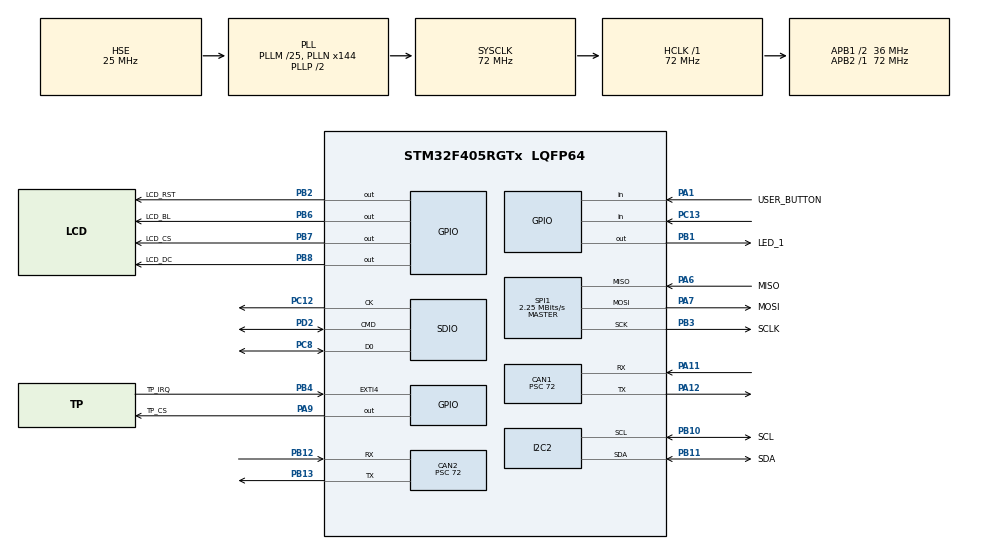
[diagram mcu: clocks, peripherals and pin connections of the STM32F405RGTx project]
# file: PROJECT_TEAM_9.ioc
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ADC1.Channel-0\#ChannelRegularConversion=ADC_CHANNEL_TEMPSENSOR
ADC1.NbrOfConversionFlag=1
ADC1.Rank-0\#ChannelRegularConversion=1
ADC1.SamplingTime-0\#ChannelRegularConversion=ADC_SAMPLETIME_3CYCLES
ADC1.master=1
CAN1.BS1=CAN_BS1_2TQ
CAN1.CalculateBaudRate=125000
CAN1.CalculateTimeBit=8000
CAN1.CalculateTimeQuantum=2000.0
CAN1.Prescaler=72
CAN2.BS1=CAN_BS1_2TQ
CAN2.CalculateBaudRate=125000
CAN2.CalculateTimeBit=8000
CAN2.CalculateTimeQuantum=2000.0
CAN2.Prescaler=72
FATFS.BSP.number=1
FATFS._USE_STRFUNC=1
FATFS0.BSP.STBoard=false
FATFS0.BSP.api=Unknown
FATFS0.BSP.instance=PC13-ANTI_TAMP
FATFS0.BSP.ip=GPIO
FATFS0.BSP.mode=Input
FATFS0.BSP.name=Detect_SDIO
FATFS0.BSP.solution=PC13-ANTI_TAMP
FREERTOS.Tasks01=defaultTask,24,128,StartDefaultTask,Default,NULL,Dynamic,NULL,NULL;canCommTask,40,128,StartCanCommTask,Default,NULL,Dynamic,NULL,NULL;tempFramTask,24,128,StartTempFramTask,Default,NULL,Dynamic,NULL,NULL;sdCardTask,16,128,StartSDCardTask,Default,NULL,Dynamic,NULL,NULL;ledBlinkTask,8,128,StartLedBlinkTask,Default,NULL,Dynamic,NULL,NULL;touchTask,32,128,StartTouchTask,Default,NULL,Dynamic,NULL,NULL;lcdUpdateTextTa,16,128,StartLcdUpdateTextTask,Default,NULL,Dynamic,NULL,NULL;uiManagerTask,24,128,StartUIManagerTask,Default,NULL,Dynamic,NULL,NULL
FREERTOS.configCHECK_FOR_STACK_OVERFLOW=2
FREERTOS.configTOTAL_HEAP_SIZE=32768
FREERTOS.configUSE_MALLOC_FAILED_HOOK=1
FREERTOS.configUSE_NEWLIB_REENTRANT=1
Mcu.Family=STM32F4
Mcu.Name=STM32F405RGTx
Mcu.Package=LQFP64
NVIC.CAN1_TX_IRQn=true\:5\:0\:false\:false\:true\:true\:true\:true\:true
NVIC.CAN2_RX0_IRQn=true\:5\:0\:false\:false\:true\:true\:true\:true\:true
NVIC.EXTI4_IRQn=true\:5\:0\:false\:false\:true\:true\:true\:true\:true
NVIC.I2C2_EV_IRQn=true\:5\:0\:false\:false\:true\:true\:true\:true\:true
NVIC.PriorityGroup=NVIC_PRIORITYGROUP_4
NVIC.SDIO_IRQn=true\:5\:0\:false\:false\:true\:true\:true\:true\:true
PA1.GPIO_Label=USER_BUTTON
PA1.GPIO_PuPd=GPIO_PULLUP
PA1.Signal=GPIO_Input
PA11.Mode=CAN_Activate
PA11.Signal=CAN1_RX
PA12.Mode=CAN_Activate
PA12.Signal=CAN1_TX
PA13.Mode=Serial_Wire
PA13.Signal=SYS_JTMS-SWDIO
PA14.Mode=Serial_Wire
PA14.Signal=SYS_JTCK-SWCLK
PA6.GPIO_Label=MISO
PA6.Mode=Full_Duplex_Master
PA6.Signal=SPI1_MISO
PA7.GPIO_Label=MOSI
PA7.Mode=Full_Duplex_Master
PA7.Signal=SPI1_MOSI
PA9.GPIO_Label=TP_CS
PA9.Signal=GPIO_Output
PB1.GPIO_Label=LED_1
PB1.Signal=GPIO_Output
PB10.GPIO_Label=SCL
PB10.GPIO_Pu=GPIO_PULLUP
PB10.Mode=I2C
PB10.Signal=I2C2_SCL
PB11.GPIO_Label=SDA
PB11.Mode=I2C
PB11.Signal=I2C2_SDA
PB12.Mode=CAN_Activate
PB12.Signal=CAN2_RX
PB13.Mode=CAN_Activate
PB13.Signal=CAN2_TX
PB2.GPIO_Label=LCD_RST
PB2.Signal=GPIO_Output
PB3.GPIO_Label=SCLK
PB3.Mode=Full_Duplex_Master
PB3.Signal=SPI1_SCK
PB4.GPIO_Label=TP_IRQ
PB4.GPIO_PuPd=GPIO_PULLUP
PB4.Signal=GPXTI4
PB6.GPIO_Label=LCD_BL
PB6.Signal=GPIO_Output
PB7.GPIO_Label=LCD_CS
PB7.Signal=GPIO_Output
PB8.GPIO_Label=LCD_DC
PB8.Signal=GPIO_Output
PC10.Signal=SDIO_D2
PC11.Signal=SDIO_D3
PC12.Mode=SD_1_bit
PC12.Signal=SDIO_CK
PC13-ANTI_TAMP.Signal=GPIO_Input
PC14-OSC32_IN.Mode=LSE-External-Oscillator
PC14-OSC32_IN.Signal=RCC_OSC32_IN
PC15-OSC32_OUT.Mode=LSE-External-Oscillator
PC15-OSC32_OUT.Signal=RCC_OSC32_OUT
PC8.Mode=SD_1_bit
PC8.Signal=SDIO_D0
PC9.Signal=SDIO_D1
PD2.Mode=SD_1_bit
PD2.Signal=SDIO_CMD
PH0-OSC_IN.Mode=HSE-External-Oscillator
PH0-OSC_IN.Signal=RCC_OSC_IN
PH1-OSC_OUT.Mode=HSE-External-Oscillator
PH1-OSC_OUT.Signal=RCC_OSC_OUT
ProjectManager.HeapSize=0x200
ProjectManager.StackSize=0x400
ProjectManager.TargetToolchain=STM32CubeIDE
RCC.48MHZClocksFreq_Value=36000000
RCC.AHBFreq_Value=72000000
RCC.APB1CLKDivider=RCC_HCLK_DIV2
RCC.APB1Freq_Value=36000000
RCC.APB1TimFreq_Value=72000000
RCC.APB2Freq_Value=72000000
RCC.APB2TimFreq_Value=72000000
RCC.CortexFreq_Value=72000000
RCC.HCLKFreq_Value=72000000
RCC.HSE_VALUE=25000000
RCC.HSI_VALUE=16000000
RCC.PLLM=25
RCC.PLLN=144
RCC.PLLSourceVirtual=RCC_PLLSOURCE_HSE
RCC.SYSCLKFreq_VALUE=72000000
RCC.SYSCLKSource=RCC_SYSCLKSOURCE_PLLCLK
RCC.VCOOutputFreq_Value=144000000
SPI1.BaudRatePrescaler=SPI_BAUDRATEPRESCALER_32
SPI1.CalculateBaudRate=2.25 MBits/s
SPI1.Direction=SPI_DIRECTION_2LINES
SPI1.Mode=SPI_MODE_MASTER
SPI1.VirtualType=VM_MASTER
VP_ADC1_TempSens_Input.Mode=IN-TempSens
VP_FATFS_VS_SDIO.Mode=SDIO
VP_FREERTOS_VS_CMSIS_V2.Mode=CMSIS_V2
VP_RTC_VS_RTC_Activate.Mode=RTC_Enabled
VP_RTC_VS_RTC_Calendar.Mode=RTC_Calendar
board=custom

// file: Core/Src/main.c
/* USER CODE BEGIN Header */
/**
 ******************************************************************************
 * @file           : main.c
 * @brief          : Main program body
 ******************************************************************************
 * @attention
 *
 * Copyright (c) 2025 STMicroelectronics.
 * All rights reserved.
 *
 * This software is licensed under terms that can be found in the LICENSE file
 * in the root directory of this software component.
 * If no LICENSE file comes with this software, it is provided AS-IS.
 *
 ******************************************************************************
 */
/* USER CODE END Header */
#include "main.h"
#include "cmsis_os.h"
#include "fatfs.h"

/* USER CODE BEGIN Includes */
#include "manual_lcd.h"
#include "manual_touch.h"
#include <stdio.h>
#include <stdbool.h>
#include <string.h>
#include "stm32f4xx_hal.h"
#include "task2.h"
#include "sd_card_manager.h"
#include "rtc_utils.h"
#include "task.h"
/* USER CODE END Includes */

ADC_HandleTypeDef hadc1;

CAN_HandleTypeDef hcan1;
CAN_HandleTypeDef hcan2;

I2C_HandleTypeDef hi2c2;

RTC_HandleTypeDef hrtc;

SD_HandleTypeDef hsd;

SPI_HandleTypeDef hspi1;

/* Definitions for defaultTask */
osThreadId_t defaultTaskHandle;
const osThreadAttr_t defaultTask_attributes = {
    .name = "defaultTask",
    .stack_size = 128 * 4,
    .priority = (osPriority_t)osPriorityNormal,
};
/* Definitions for canCommTask */
osThreadId_t canCommTaskHandle;
const osThreadAttr_t canCommTask_attributes = {
    .name = "canCommTask",
    .stack_size = 128 * 4,
    .priority = (osPriority_t)osPriorityHigh,
};
/* Definitions for tempFramTask */
osThreadId_t tempFramTaskHandle;
const osThreadAttr_t tempFramTask_attributes = {
    .name = "tempFramTask",
    .stack_size = 128 * 4,
    .priority = (osPriority_t)osPriorityNormal,
};
/* Definitions for sdCardTask */
osThreadId_t sdCardTaskHandle;
const osThreadAttr_t sdCardTask_attributes = {
    .name = "sdCardTask",
    .stack_size = 128 * 4,
    .priority = (osPriority_t)osPriorityBelowNormal,
};
/* Definitions for ledBlinkTask */
osThreadId_t ledBlinkTaskHandle;
const osThreadAttr_t ledBlinkTask_attributes = {
    .name = "ledBlinkTask",
    .stack_size = 128 * 4,
    .priority = (osPriority_t)osPriorityLow,
};

/* Definitions for lcdUpdateTextTa */
osThreadId_t lcdUpdateTextTaHandle;
const osThreadAttr_t lcdUpdateTextTa_attributes = {
    .name = "lcdUpdateTextTa",
    .stack_size = 128 * 4,
    .priority = (osPriority_t)osPriorityBelowNormal,
};
/* Definitions for uiManagerTask */
osThreadId_t uiManagerTaskHandle;
const osThreadAttr_t uiManagerTask_attributes = {
    .name = "uiManagerTask",
    .stack_size = 128 * 4,
    .priority = (osPriority_t)osPriorityNormal,
};
/* Definitions for taskSwitchHandler */
osThreadId_t taskSwitchHandlerHandle;
const osThreadAttr_t taskSwitchHandler_attributes = {
    .name = "taskSwitchHandler",
    .stack_size = 128 * 4,
    .priority = (osPriority_t)osPriorityHigh,
};

/* USER CODE BEGIN PV */
uint8_t read_data[50], byte_read;
SD_HandleTypeDef hsd;
HAL_SD_CardInfoTypeDef SDCardInfo;

CAN_TxHeaderTypeDef TxHeader1;
CAN_RxHeaderTypeDef RxHeader2;

uint8_t TxData1[2];
uint8_t RxData2[2];

uint32_t TxMailbox1;

volatile uint8_t can2_received_temperature;
volatile uint8_t can2_received_group;
volatile uint8_t can2_received_data_flag = 0;
int current_task = -1;
GPIO_PinState current_button_state = GPIO_PIN_RESET;

TaskBox_t task_boxes[4];
TaskBox_t back_button_box;
int num_tasks;
char info_text_buffer[50];

osSemaphoreId_t uiUpdateSemaphore;
osSemaphoreId_t lcdUpdateSemaphore;
osMessageQueueId_t lcdTextQueue;
osMessageQueueId_t taskSwitchQueue;
osMessageQueueId_t uiTaskSwitchQueue;
osMutexId_t lcdMutex;
osMutexId_t lcdTextMutex;

char globalLcdText[50];
volatile uint8_t lcdTextReady = 0;

osThreadId_t currentActiveTask = NULL;

typedef struct
{
  char text[50];
} LcdTextMessage_t;

typedef struct
{
  char oldTaskName[20];
  char newTaskName[20];
  uint16_t oldColor;
  uint16_t newColor;
  int hasOldTask;
} UiTaskSwitchMessage_t;

typedef struct
{
  osThreadId_t taskHandle;
  int taskIndex;
} TaskSwitchMessage_t;

volatile uint8_t is_members_layout = 1;

/* USER CODE END PV */

void SystemClock_Config(void);
static void MX_GPIO_Init(void);
static void MX_SPI1_Init(void);
static void MX_I2C2_Init(void);
static void MX_SDIO_SD_Init(void);
static void MX_ADC1_Init(void);
static void MX_CAN1_Init(void);
static void MX_CAN2_Init(void);
static void MX_RTC_Init(void);
void StartDefaultTask(void *argument);
void StartCanCommTask(void *argument);
void StartTempFramTask(void *argument);
void StartSDCardTask(void *argument);
void StartLedBlinkTask(void *argument);
void StartLcdUpdateTextTask(void *argument);
void StartUIManagerTask(void *argument);
void TaskSwitchHandler(void *argument);

int main(void)
{
  /* USER CODE BEGIN 1 */
  uint16_t start_y_tasks_row1 = INFO_BOX_Y + INFO_BOX_H + INFO_TO_TASK_SPACING;
  uint16_t start_y_tasks_row2 = start_y_tasks_row1 + TASK_BOX_H + SPACING_BETWEEN_BOXES;

  task_boxes[0] = (TaskBox_t){25, 80, 90, 60, "Task 02-1"};
  task_boxes[1] = (TaskBox_t){125, 80, 90, 60, "Task 02-2"};
  task_boxes[2] = (TaskBox_t){25, 150, 90, 60, "Task 02-3"};
  task_boxes[3] = (TaskBox_t){125, 150, 90, 60, "Task 02-4"};

  num_tasks = 4;

  char current_task_text[20];

  back_button_box = (TaskBox_t){
      125,
      230,
      75,
      40,
      "Back"};

  /* USER CODE END 1 */

  /* MCU Configuration--------------------------------------------------------*/

  /* Reset of all peripherals, Initializes the Flash interface and the Systick. */
  HAL_Init();

  /* Configure the system clock */
  SystemClock_Config();

  /* Initialize all configured peripherals */
  MX_GPIO_Init();
  MX_SPI1_Init();
  MX_I2C2_Init();
  MX_SDIO_SD_Init();
  MX_FATFS_Init();
  MX_ADC1_Init();
  MX_CAN1_Init();
  MX_CAN2_Init();
  MX_RTC_Init(); /* USER CODE BEGIN 2 */
  CAN_FilterTypeDef sFilterConfig2;
  sFilterConfig2.FilterBank = 14;
  sFilterConfig2.FilterMode = CAN_FILTERMODE_IDMASK;
  sFilterConfig2.FilterScale = CAN_FILTERSCALE_32BIT;
  sFilterConfig2.FilterIdHigh = 0x0000;
  sFilterConfig2.FilterIdLow = 0x0000;
  sFilterConfig2.FilterMaskIdHigh = 0x0000;
  sFilterConfig2.FilterMaskIdLow = 0x0000;
  sFilterConfig2.FilterFIFOAssignment = CAN_RX_FIFO0;
  sFilterConfig2.FilterActivation = ENABLE;

  if (HAL_CAN_ConfigFilter(&hcan2, &sFilterConfig2) != HAL_OK)
  {
    Error_Handler();
  }

  if (HAL_CAN_Start(&hcan1) != HAL_OK)
  {
    Error_Handler();
  }

  if (HAL_CAN_Start(&hcan2) != HAL_OK)
  {
    Error_Handler();
  }

  if (HAL_CAN_ActivateNotification(&hcan2, CAN_IT_RX_FIFO0_MSG_PENDING) != HAL_OK)
  {
    Error_Handler();
  }

  TxHeader1.StdId = 0x124;
  TxHeader1.ExtId = 0x00;
  TxHeader1.RTR = CAN_RTR_DATA;
  TxHeader1.IDE = CAN_ID_STD;
  TxHeader1.DLC = 2;
  TxHeader1.TransmitGlobalTime = DISABLE;

  // SD_Init();

  My_RTC_InitAndSet(&hrtc);
  Manual_LCD_Init();
  Manual_LCD_DrawMembersLayout();

  // Infinite loop waiting for PA1 button press
  while(1)
  {
    // Check PA1 button state (GPIO_PIN_RESET when pressed)
    if(HAL_GPIO_ReadPin(GPIOA, GPIO_PIN_1) == GPIO_PIN_RESET)
    {

      HAL_Delay(10);
      // Check again to ensure button is really pressed
      if(HAL_GPIO_ReadPin(GPIOA, GPIO_PIN_1) == GPIO_PIN_RESET)
      {
        // Wait until button is released
        while(HAL_GPIO_ReadPin(GPIOA, GPIO_PIN_1) == GPIO_PIN_RESET)
        {
          HAL_Delay(10);
        }

        // Exit the waiting loop
        break;
      }
    }

    // Small delay to prevent CPU from running too fast
    HAL_Delay(10);
  }

  Manual_LCD_DrawLayout();

  Manual_Touch_Init(&hspi1);

  /* USER CODE END 4 */
  /* USER CODE END 2 */

  /* Init scheduler */
  osKernelInitialize();

  /* USER CODE BEGIN RTOS_MUTEX */
  /* add mutexes, ... */
  lcdMutex = osMutexNew(NULL);
  /* USER CODE END RTOS_MUTEX */

  /* USER CODE BEGIN RTOS_SEMAPHORES */
  /* add semaphores, ... */
  uiUpdateSemaphore = osSemaphoreNew(1, 0, NULL);
  lcdUpdateSemaphore = osSemaphoreNew(1, 0, NULL);
  /* USER CODE END RTOS_SEMAPHORES */

  /* USER CODE BEGIN RTOS_TIMERS */
  /* start timers, add new ones, ... */
  /* USER CODE END RTOS_TIMERS */ /* USER CODE BEGIN RTOS_QUEUES */
  lcdTextQueue = osMessageQueueNew(1, sizeof(LcdTextMessage_t), NULL);
  taskSwitchQueue = osMessageQueueNew(1, sizeof(TaskSwitchMessage_t), NULL);
  uiTaskSwitchQueue = osMessageQueueNew(1, sizeof(UiTaskSwitchMessage_t), NULL);
  /* USER CODE END RTOS_QUEUES */

  /* Create the thread(s) */
  /* creation of defaultTask */
  defaultTaskHandle = osThreadNew(StartDefaultTask, NULL, &defaultTask_attributes);

  /* creation of canCommTask */
  canCommTaskHandle = osThreadNew(StartCanCommTask, NULL, &canCommTask_attributes);

  /* creation of tempFramTask */
  tempFramTaskHandle = osThreadNew(StartTempFramTask, NULL, &tempFramTask_attributes);

  /* creation of sdCardTask */
  sdCardTaskHandle = osThreadNew(StartSDCardTask, NULL, &sdCardTask_attributes);
  /* creation of ledBlinkTask */
  ledBlinkTaskHandle = osThreadNew(StartLedBlinkTask, NULL, &ledBlinkTask_attributes);

  /* creation of lcdUpdateTextTa */
  lcdUpdateTextTaHandle = osThreadNew(StartLcdUpdateTextTask, NULL, &lcdUpdateTextTa_attributes);
  /* creation of uiManagerTask */
  uiManagerTaskHandle = osThreadNew(StartUIManagerTask, NULL, &uiManagerTask_attributes);

  /* USER CODE BEGIN RTOS_THREADS */
  /* creation of taskSwitchHandler */ taskSwitchHandlerHandle = osThreadNew(TaskSwitchHandler, NULL, &taskSwitchHandler_attributes);

  osThreadSuspend(ledBlinkTaskHandle);
  osThreadSuspend(canCommTaskHandle);
  osThreadSuspend(tempFramTaskHandle);
  osThreadSuspend(sdCardTaskHandle);
  osThreadSuspend(defaultTaskHandle);
  /* USER CODE END RTOS_THREADS */

  /* Start scheduler */
  osKernelStart();

  /* We should never get here as control is now taken by the scheduler */

  /* Infinite loop */
  /* USER CODE BEGIN WHILE */ while (1)
  {
  }

  /* USER CODE END 3 */
}

void SystemClock_Config(void)
{
  RCC_OscInitTypeDef RCC_OscInitStruct = {0};
  RCC_ClkInitTypeDef RCC_ClkInitStruct = {0};

  /** Configure the main internal regulator output voltage
   */
  __HAL_RCC_PWR_CLK_ENABLE();
  __HAL_PWR_VOLTAGESCALING_CONFIG(PWR_REGULATOR_VOLTAGE_SCALE1);

  /** Initializes the RCC Oscillators according to the specified parameters
   * in the RCC_OscInitTypeDef structure.
   */
  RCC_OscInitStruct.OscillatorType = RCC_OSCILLATORTYPE_LSI | RCC_OSCILLATORTYPE_HSE;
  RCC_OscInitStruct.HSEState = RCC_HSE_ON;
  RCC_OscInitStruct.LSIState = RCC_LSI_ON;
  RCC_OscInitStruct.PLL.PLLState = RCC_PLL_ON;
  RCC_OscInitStruct.PLL.PLLSource = RCC_PLLSOURCE_HSE;
  RCC_OscInitStruct.PLL.PLLM = 25;
  RCC_OscInitStruct.PLL.PLLN = 144;
  RCC_OscInitStruct.PLL.PLLP = RCC_PLLP_DIV2;
  RCC_OscInitStruct.PLL.PLLQ = 4;
  if (HAL_RCC_OscConfig(&RCC_OscInitStruct) != HAL_OK)
  {
    Error_Handler();
  }

  /** Initializes the CPU, AHB and APB buses clocks
   */
  RCC_ClkInitStruct.ClockType = RCC_CLOCKTYPE_HCLK | RCC_CLOCKTYPE_SYSCLK | RCC_CLOCKTYPE_PCLK1 | RCC_CLOCKTYPE_PCLK2;
  RCC_ClkInitStruct.SYSCLKSource = RCC_SYSCLKSOURCE_PLLCLK;
  RCC_ClkInitStruct.AHBCLKDivider = RCC_SYSCLK_DIV1;
  RCC_ClkInitStruct.APB1CLKDivider = RCC_HCLK_DIV2;
  RCC_ClkInitStruct.APB2CLKDivider = RCC_HCLK_DIV1;

  if (HAL_RCC_ClockConfig(&RCC_ClkInitStruct, FLASH_LATENCY_2) != HAL_OK)
  {
    Error_Handler();
  }
}

static void MX_ADC1_Init(void)
{

  ADC_ChannelConfTypeDef sConfig = {0};

  /** Configure the global features of the ADC (Clock, Resolution, Data Alignment and number of conversion)
   */
  hadc1.Instance = ADC1;
  hadc1.Init.ClockPrescaler = ADC_CLOCK_SYNC_PCLK_DIV2;
  hadc1.Init.Resolution = ADC_RESOLUTION_12B;
  hadc1.Init.ScanConvMode = DISABLE;
  hadc1.Init.ContinuousConvMode = DISABLE;
  hadc1.Init.DiscontinuousConvMode = DISABLE;
  hadc1.Init.ExternalTrigConvEdge = ADC_EXTERNALTRIGCONVEDGE_NONE;
  hadc1.Init.ExternalTrigConv = ADC_SOFTWARE_START;
  hadc1.Init.DataAlign = ADC_DATAALIGN_RIGHT;
  hadc1.Init.NbrOfConversion = 1;
  hadc1.Init.DMAContinuousRequests = DISABLE;
  hadc1.Init.EOCSelection = ADC_EOC_SINGLE_CONV;
  if (HAL_ADC_Init(&hadc1) != HAL_OK)
  {
    Error_Handler();
  }

  /** Configure for the selected ADC regular channel its corresponding rank in the sequencer and its sample time.
   */
  sConfig.Channel = ADC_CHANNEL_TEMPSENSOR;
  sConfig.Rank = 1;
  sConfig.SamplingTime = ADC_SAMPLETIME_3CYCLES;
  if (HAL_ADC_ConfigChannel(&hadc1, &sConfig) != HAL_OK)
  {
    Error_Handler();
  }
}

static void MX_CAN1_Init(void)
{

  hcan1.Instance = CAN1;
  hcan1.Init.Prescaler = 72;
  hcan1.Init.Mode = CAN_MODE_NORMAL;
  hcan1.Init.SyncJumpWidth = CAN_SJW_1TQ;
  hcan1.Init.TimeSeg1 = CAN_BS1_2TQ;
  hcan1.Init.TimeSeg2 = CAN_BS2_1TQ;
  hcan1.Init.TimeTriggeredMode = DISABLE;
  hcan1.Init.AutoBusOff = DISABLE;
  hcan1.Init.AutoWakeUp = DISABLE;
  hcan1.Init.AutoRetransmission = DISABLE;
  hcan1.Init.ReceiveFifoLocked = DISABLE;
  hcan1.Init.TransmitFifoPriority = DISABLE;
  if (HAL_CAN_Init(&hcan1) != HAL_OK)
  {
    Error_Handler();
  }
}

static void MX_CAN2_Init(void)
{

  hcan2.Instance = CAN2;
  hcan2.Init.Prescaler = 72;
  hcan2.Init.Mode = CAN_MODE_NORMAL;
  hcan2.Init.SyncJumpWidth = CAN_SJW_1TQ;
  hcan2.Init.TimeSeg1 = CAN_BS1_2TQ;
  hcan2.Init.TimeSeg2 = CAN_BS2_1TQ;
  hcan2.Init.TimeTriggeredMode = DISABLE;
  hcan2.Init.AutoBusOff = DISABLE;
  hcan2.Init.AutoWakeUp = DISABLE;
  hcan2.Init.AutoRetransmission = DISABLE;
  hcan2.Init.ReceiveFifoLocked = DISABLE;
  hcan2.Init.TransmitFifoPriority = DISABLE;
  if (HAL_CAN_Init(&hcan2) != HAL_OK)
  {
    Error_Handler();
  }
  /* USER CODE BEGIN CAN2_Init 2 */
  HAL_NVIC_SetPriority(CAN2_RX0_IRQn, 0, 0);
  HAL_NVIC_EnableIRQ(CAN2_RX0_IRQn);
  /* USER CODE END CAN2_Init 2 */
}

static void MX_I2C2_Init(void)
{

  hi2c2.Instance = I2C2;
  hi2c2.Init.ClockSpeed = 100000;
  hi2c2.Init.DutyCycle = I2C_DUTYCYCLE_2;
  hi2c2.Init.OwnAddress1 = 0;
  hi2c2.Init.AddressingMode = I2C_ADDRESSINGMODE_7BIT;
  hi2c2.Init.DualAddressMode = I2C_DUALADDRESS_DISABLE;
  hi2c2.Init.OwnAddress2 = 0;
  hi2c2.Init.GeneralCallMode = I2C_GENERALCALL_DISABLE;
  hi2c2.Init.NoStretchMode = I2C_NOSTRETCH_DISABLE;
  if (HAL_I2C_Init(&hi2c2) != HAL_OK)
  {
    Error_Handler();
  }
}

static void MX_RTC_Init(void)
{

  RTC_TimeTypeDef sTime = {0};
  RTC_DateTypeDef sDate = {0};

  /** Initialize RTC Only
   */
  hrtc.Instance = RTC;
  hrtc.Init.HourFormat = RTC_HOURFORMAT_24;
  hrtc.Init.AsynchPrediv = 127;
  hrtc.Init.SynchPrediv = 255;
  hrtc.Init.OutPut = RTC_OUTPUT_DISABLE;
  hrtc.Init.OutPutPolarity = RTC_OUTPUT_POLARITY_HIGH;
  hrtc.Init.OutPutType = RTC_OUTPUT_TYPE_OPENDRAIN;
  if (HAL_RTC_Init(&hrtc) != HAL_OK)
  {
    Error_Handler();
  }

  /** Initialize RTC and set the Time and Date
   */
  sTime.Hours = 0x0;
  sTime.Minutes = 0x0;
  sTime.Seconds = 0x0;
  sTime.DayLightSaving = RTC_DAYLIGHTSAVING_NONE;
  sTime.StoreOperation = RTC_STOREOPERATION_RESET;
  if (HAL_RTC_SetTime(&hrtc, &sTime, RTC_FORMAT_BCD) != HAL_OK)
  {
    Error_Handler();
  }
  sDate.WeekDay = RTC_WEEKDAY_MONDAY;
  sDate.Month = RTC_MONTH_JANUARY;
  sDate.Date = 0x1;
  sDate.Year = 0x0;

  if (HAL_RTC_SetDate(&hrtc, &sDate, RTC_FORMAT_BCD) != HAL_OK)
  {
    Error_Handler();
  }
}

static void MX_SDIO_SD_Init(void)
{

  hsd.Instance = SDIO;
  hsd.Init.ClockEdge = SDIO_CLOCK_EDGE_RISING;
  hsd.Init.ClockBypass = SDIO_CLOCK_BYPASS_DISABLE;
  hsd.Init.ClockPowerSave = SDIO_CLOCK_POWER_SAVE_DISABLE;
  hsd.Init.BusWide = SDIO_BUS_WIDE_1B;
  hsd.Init.HardwareFlowControl = SDIO_HARDWARE_FLOW_CONTROL_DISABLE;
  hsd.Init.ClockDiv = 0;
}

static void MX_SPI1_Init(void)
{

  /* SPI1 parameter configuration*/
  hspi1.Instance = SPI1;
  hspi1.Init.Mode = SPI_MODE_MASTER;
  hspi1.Init.Direction = SPI_DIRECTION_2LINES;
  hspi1.Init.DataSize = SPI_DATASIZE_8BIT;
  hspi1.Init.CLKPolarity = SPI_POLARITY_LOW;
  hspi1.Init.CLKPhase = SPI_PHASE_1EDGE;
  hspi1.Init.NSS = SPI_NSS_SOFT;
  hspi1.Init.BaudRatePrescaler = SPI_BAUDRATEPRESCALER_32;
  hspi1.Init.FirstBit = SPI_FIRSTBIT_MSB;
  hspi1.Init.TIMode = SPI_TIMODE_DISABLE;
  hspi1.Init.CRCCalculation = SPI_CRCCALCULATION_DISABLE;
  hspi1.Init.CRCPolynomial = 10;
  if (HAL_SPI_Init(&hspi1) != HAL_OK)
  {
    Error_Handler();
  }
}

static void MX_GPIO_Init(void)
{
  GPIO_InitTypeDef GPIO_InitStruct = {0};

  /* GPIO Ports Clock Enable */
  __HAL_RCC_GPIOC_CLK_ENABLE();
  __HAL_RCC_GPIOH_CLK_ENABLE();
  __HAL_RCC_GPIOA_CLK_ENABLE();
  __HAL_RCC_GPIOB_CLK_ENABLE();
  __HAL_RCC_GPIOD_CLK_ENABLE();

  /*Configure GPIO pin Output Level */
  HAL_GPIO_WritePin(GPIOB, LED_1_Pin | LCD_RST_Pin | LCD_BL_Pin | LCD_CS_Pin | LCD_DC_Pin, GPIO_PIN_RESET);

  /*Configure GPIO pin Output Level */
  HAL_GPIO_WritePin(TP_CS_GPIO_Port, TP_CS_Pin, GPIO_PIN_RESET);

  /*Configure GPIO pin : PC13 */
  GPIO_InitStruct.Pin = GPIO_PIN_13;
  GPIO_InitStruct.Mode = GPIO_MODE_INPUT;
  GPIO_InitStruct.Pull = GPIO_NOPULL;
  HAL_GPIO_Init(GPIOC, &GPIO_InitStruct);

  /*Configure GPIO pin : USER_BUTTON_Pin */
  GPIO_InitStruct.Pin = USER_BUTTON_Pin;
  GPIO_InitStruct.Mode = GPIO_MODE_INPUT;
  GPIO_InitStruct.Pull = GPIO_PULLUP;
  HAL_GPIO_Init(USER_BUTTON_GPIO_Port, &GPIO_InitStruct);

  /*Configure GPIO pins : LED_1_Pin LCD_RST_Pin LCD_BL_Pin LCD_CS_Pin
                           LCD_DC_Pin */
  GPIO_InitStruct.Pin = LED_1_Pin | LCD_RST_Pin | LCD_BL_Pin | LCD_CS_Pin | LCD_DC_Pin;
  GPIO_InitStruct.Mode = GPIO_MODE_OUTPUT_PP;
  GPIO_InitStruct.Pull = GPIO_NOPULL;
  GPIO_InitStruct.Speed = GPIO_SPEED_FREQ_LOW;
  HAL_GPIO_Init(GPIOB, &GPIO_InitStruct);

  /*Configure GPIO pin : TP_CS_Pin */
  GPIO_InitStruct.Pin = TP_CS_Pin;
  GPIO_InitStruct.Mode = GPIO_MODE_OUTPUT_PP;
  GPIO_InitStruct.Pull = GPIO_NOPULL;
  GPIO_InitStruct.Speed = GPIO_SPEED_FREQ_LOW;
  HAL_GPIO_Init(TP_CS_GPIO_Port, &GPIO_InitStruct);

  /*Configure GPIO pin : TP_IRQ_Pin */
  GPIO_InitStruct.Pin = TP_IRQ_Pin;
  GPIO_InitStruct.Mode = GPIO_MODE_IT_RISING;
  GPIO_InitStruct.Pull = GPIO_PULLUP;
  HAL_GPIO_Init(TP_IRQ_GPIO_Port, &GPIO_InitStruct);

  /* EXTI interrupt init*/
  HAL_NVIC_SetPriority(EXTI4_IRQn, 5, 0);
  HAL_NVIC_EnableIRQ(EXTI4_IRQn);

}

/* USER CODE BEGIN 4 */
void SwitchActiveTask(osThreadId_t newTaskHandle, int taskIndex)
{
  if (currentActiveTask != NULL)
  {
    osThreadSuspend(currentActiveTask);
  }

  if (newTaskHandle != NULL)
  {
    osThreadResume(newTaskHandle);
    currentActiveTask = newTaskHandle;
  }
  else
  {
    currentActiveTask = NULL;
  }
}

void TaskSwitchHandler(void *argument)
{
  TaskSwitchMessage_t switchMsg;

  for (;;)
  {
    if (osMessageQueueGet(taskSwitchQueue, &switchMsg, NULL, osWaitForever) == osOK)
    {
      SwitchActiveTask(switchMsg.taskHandle, switchMsg.taskIndex);
    }
  }
}

void RequestTaskSwitchFromISR(osThreadId_t newTaskHandle, int taskIndex, BaseType_t *pxHigherPriorityTaskWoken)
{
  TaskSwitchMessage_t switchMsg;
  switchMsg.taskHandle = newTaskHandle;
  switchMsg.taskIndex = taskIndex;

  if (taskSwitchQueue == NULL)
  {
    return;
  }

  osStatus_t status = osMessageQueuePut(taskSwitchQueue, &switchMsg, 0, 0);
  if (status == osOK)
  {
    *pxHigherPriorityTaskWoken = pdTRUE;
  }
}

void HAL_GPIO_EXTI_Callback(uint16_t GPIO_Pin)
{
  BaseType_t xHigherPriorityTaskWoken = pdFALSE;

  if (GPIO_Pin == TP_IRQ_Pin)
  {
    if (HAL_GPIO_ReadPin(TP_IRQ_GPIO_Port, TP_IRQ_Pin) == GPIO_PIN_RESET)
    {
      Coordinate rawPoint, displayPoint;
      int old_task = current_task;
      LcdTextMessage_t textMsg;

      if (Manual_Touch_GetRawPoint(&rawPoint))
      {
        Manual_Touch_ApplyCalibration(&displayPoint, &rawPoint);

        for (int i = 0; i < num_tasks; i++)
        {
          if (displayPoint.x >= task_boxes[i].x &&
              displayPoint.x < (task_boxes[i].x + task_boxes[i].w) &&
              displayPoint.y >= task_boxes[i].y &&
              displayPoint.y < (task_boxes[i].y + task_boxes[i].h))
          {
            current_task = i;
            if (old_task != i)
            {
              UiTaskSwitchMessage_t switchMsg;

              if (old_task >= 0 && old_task < num_tasks)
              {
                strcpy(switchMsg.oldTaskName, task_boxes[old_task].name);
                switchMsg.oldColor = COLOR_BLACK;
                switchMsg.hasOldTask = 1;
              }
              else
              {
                switchMsg.oldTaskName[0] = '\0';
                switchMsg.hasOldTask = 0;
              }

              strcpy(switchMsg.newTaskName, task_boxes[i].name);
              switchMsg.newColor = COLOR_MAGENTA;
              osMessageQueuePut(uiTaskSwitchQueue, &switchMsg, 0, 0);
              osSemaphoreRelease(uiUpdateSemaphore);
              switch (i)
              {
              case 0:
                RequestTaskSwitchFromISR(ledBlinkTaskHandle, i, &xHigherPriorityTaskWoken);
                strcpy(textMsg.text, "Task 02-1: BLINK LED");
                osMessageQueuePut(lcdTextQueue, &textMsg, 0, 0);
                osSemaphoreRelease(lcdUpdateSemaphore);
                break;
              case 1:
                RequestTaskSwitchFromISR(canCommTaskHandle, i, &xHigherPriorityTaskWoken);
                break;
              case 2:
                 RequestTaskSwitchFromISR(sdCardTaskHandle, i, &xHigherPriorityTaskWoken);
                break;
              case 3:
                RequestTaskSwitchFromISR(tempFramTaskHandle, i, &xHigherPriorityTaskWoken);
                break;
              }

              xHigherPriorityTaskWoken = pdTRUE;
            }

            return;
          }
        }

        if (displayPoint.x >= back_button_box.x &&
            displayPoint.x < (back_button_box.x + back_button_box.w) &&
            displayPoint.y >= back_button_box.y &&
            displayPoint.y < (back_button_box.y + back_button_box.h))
        {
          current_task = -1;
          RequestTaskSwitchFromISR(NULL, -1, &xHigherPriorityTaskWoken);
          if (old_task >= 0 && old_task < num_tasks)
          {
            sprintf(textMsg.text, "Nhom %02d", GROUP_NUMBER);
            osMessageQueuePut(lcdTextQueue, &textMsg, 0, 0);
            osSemaphoreRelease(lcdUpdateSemaphore);

            UiTaskSwitchMessage_t switchMsg;
            strcpy(switchMsg.oldTaskName, task_boxes[old_task].name);
            switchMsg.oldColor = COLOR_BLACK;
            switchMsg.hasOldTask = 1;
            switchMsg.newTaskName[0] = '\0';
            switchMsg.hasOldTask = 1;

            osMessageQueuePut(uiTaskSwitchQueue, &switchMsg, 0, 0);
            osSemaphoreRelease(uiUpdateSemaphore);

            xHigherPriorityTaskWoken = pdTRUE;
          }

          return;
        }
      }
    }

    portYIELD_FROM_ISR(xHigherPriorityTaskWoken);
  }
}
void HAL_CAN_RxFifo0MsgPendingCallback(CAN_HandleTypeDef *hcan)
{
  if (hcan->Instance == CAN2)
  {
    if (HAL_CAN_GetRxMessage(hcan, CAN_RX_FIFO0, &RxHeader2, RxData2) == HAL_OK)
    {
      if (RxHeader2.DLC >= 2)
      {
        can2_received_group = RxData2[0];
        can2_received_temperature = RxData2[1];
        can2_received_data_flag = 1;
      }
    }
  }
}

/* USER CODE END 4 */

void StartDefaultTask(void *argument)
{
  for (;;)
  {
    osDelay(1);
  }
}

void StartCanCommTask(void *argument)
{
  /* USER CODE BEGIN StartCanCommTask */
  /* Infinite loop */
  LcdTextMessage_t textMsg;
  int can2_received_temperature_int;
  uint32_t consecutive_timeouts = 0;
  uint32_t max_consecutive_timeouts = 5;
  osStatus_t queue_status, semaphore_status;
  HAL_StatusTypeDef can_status;
  for (;;)
  {
    uint8_t current_temp_c = (uint8_t)Read_Internal_Temperature();
    uint8_t temp_to_send = current_temp_c;
    TxData1[0] = GROUP_NUMBER;
    TxData1[1] = temp_to_send;

    can_status = HAL_CAN_AddTxMessage(&hcan1, &TxHeader1, TxData1, &TxMailbox1);
    if (can_status != HAL_OK)
    {
      sprintf(textMsg.text, "CAN TX Error: %d", can_status);
      queue_status = osMessageQueuePut(lcdTextQueue, &textMsg, 0, 1000);
      if (queue_status == osOK)
      {
        osSemaphoreRelease(lcdUpdateSemaphore);
      }

      osDelay(1000);
      continue;
    }

    uint32_t timeout = HAL_GetTick() + 1000; // 1 second timeout
    while (!can2_received_data_flag && HAL_GetTick() < timeout)
    {
      osDelay(10);
    }
    if (can2_received_data_flag)
    {
      can2_received_data_flag = 0;
      can2_received_temperature_int = (int)can2_received_temperature;
      consecutive_timeouts = 0;
      sprintf(textMsg.text, "Group: %d, temp: %d *C", can2_received_group, can2_received_temperature_int);

      queue_status = osMessageQueuePut(lcdTextQueue, &textMsg, 0, 1000);
      if (queue_status == osOK)
      {
        semaphore_status = osSemaphoreRelease(lcdUpdateSemaphore);
        if (semaphore_status != osOK)
        {
          osDelay(50);
        }
      }
      else
      {
        osDelay(100);
      }
    }
    else
    {
      consecutive_timeouts++;

      if (consecutive_timeouts <= max_consecutive_timeouts)
      {
        sprintf(textMsg.text, "CAN timeout (%lu/%lu)", consecutive_timeouts, max_consecutive_timeouts);
      }
      else
      {
        sprintf(textMsg.text, "CAN comm lost - check bus");

        // Try to recover CAN communication
        HAL_CAN_Stop(&hcan1);
        osDelay(100);
        HAL_StatusTypeDef can_init_status = HAL_CAN_Start(&hcan1);

        if (can_init_status == HAL_OK)
        {
          sprintf(textMsg.text, "CAN restarted");
          consecutive_timeouts = 0; // Reset counter on successful restart
        }
        else
        {
          sprintf(textMsg.text, "CAN restart failed: %d", can_init_status);
        }
      }

      queue_status = osMessageQueuePut(lcdTextQueue, &textMsg, 0, 1000);
      if (queue_status == osOK)
      {
        osSemaphoreRelease(lcdUpdateSemaphore);
      }
    }

    osDelay(500); // Delay to avoid flooding the CAN bus
  }
  /* USER CODE END StartCanCommTask */
}

	void StartTempFramTask(void *argument)
	{
	  /* USER CODE BEGIN StartTempFramTask */
	  /* Infinite loop */
	  LcdTextMessage_t textMsg;
	  TemperatureLog_t log;
	  GPIO_PinState prev_btn_state = GPIO_PIN_RESET;

	  for (;;)
	  {
		// Read temperature from FRAM
		GPIO_PinState current_btn_state = HAL_GPIO_ReadPin(USER_BUTTON_GPIO_Port, USER_BUTTON_Pin);

		CheckUserButtonAndSaveTemp(&current_btn_state);

		if (current_btn_state == GPIO_PIN_SET && prev_btn_state == GPIO_PIN_RESET)
		{
		  // Button just pressed
		  if (ReadTempLogFromFRAM(&hi2c2, USER_TEMP_ADDR, &log) == HAL_OK)
		  {
			sprintf(textMsg.text, "FRAM Read OK: %d *C", log.temperature);
		  }
		  else
		  {
			sprintf(textMsg.text, "FRAM Read ERROR");
		  }

		  // Send message to LCD update task
		  osMessageQueuePut(lcdTextQueue, &textMsg, 0, 0);
		  osSemaphoreRelease(lcdUpdateSemaphore);
		}

		prev_btn_state = current_btn_state;
		current_button_state = current_btn_state;

		osDelay(10); // Small delay for button debouncing
	  }
	  /* USER CODE END StartTempFramTask */
	}

void StartSDCardTask(void *argument)
{
  /* USER CODE BEGIN StartSDCardTask */
  /* SD Card Task - Read file once only */
  LcdTextMessage_t textMsg;
  uint32_t error_count = 0;
  uint32_t max_retries = 3;
  osStatus_t queue_status, semaphore_status;
  uint8_t sd_read_completed = 0; // Flag to track if SD read was completed

  // Perform SD card read operation once
  while (!sd_read_completed && error_count <= max_retries)
  {
    byte_read = SD_ReadTeamFile(read_data, sizeof(read_data));
    if (byte_read > 0)
    {
      sprintf(textMsg.text, "SD: %s", read_data);
      sd_read_completed = 1;

      queue_status = osMessageQueuePut(lcdTextQueue, &textMsg, 0, 1000);
      if (queue_status == osOK)
      {
        osSemaphoreRelease(lcdUpdateSemaphore);
      }
    }
    else
    {
      error_count++;
      sprintf(textMsg.text, "Read error (%d) try %lu", byte_read, error_count);

      queue_status = osMessageQueuePut(lcdTextQueue, &textMsg, 0, 1000);
      if (queue_status == osOK)
      {
        semaphore_status = osSemaphoreRelease(lcdUpdateSemaphore);
        if (semaphore_status != osOK)
        {
        }
      }

      if (error_count <= max_retries)
      {
        osDelay(500 * error_count);

        if (SD_Init())
        {
          sprintf(textMsg.text, "SD reinitialized (attempt %lu)", error_count);
          queue_status = osMessageQueuePut(lcdTextQueue, &textMsg, 0, 1000);
          if (queue_status == osOK)
          {
            osSemaphoreRelease(lcdUpdateSemaphore);
          }
          osDelay(1000);

          byte_read = SD_ReadTeamFile(read_data, sizeof(read_data));
          if (byte_read > 0)
          {
            sprintf(textMsg.text, "Recovery success: %s", read_data);
            sd_read_completed = 1;
          }
          else
          {
            sprintf(textMsg.text, "Recovery failed (%d)", byte_read);
          }

          // Send recovery result to LCD
          queue_status = osMessageQueuePut(lcdTextQueue, &textMsg, 0, 1000);
          if (queue_status == osOK)
          {
            osSemaphoreRelease(lcdUpdateSemaphore);
          }
        }
        else
        {
          sprintf(textMsg.text, "SD reinit failed (attempt %lu)", error_count);
          queue_status = osMessageQueuePut(lcdTextQueue, &textMsg, 0, 1000);
          if (queue_status == osOK)
          {
            osSemaphoreRelease(lcdUpdateSemaphore);
          }
        }
      }
      else
      {
        // Max retries exceeded - enter error state
        sprintf(textMsg.text, "SD card failed - check hardware");
        queue_status = osMessageQueuePut(lcdTextQueue, &textMsg, 0, 1000);
        if (queue_status == osOK)
        {
          osSemaphoreRelease(lcdUpdateSemaphore);
        }
        break; // Exit the retry loop
      }
    }
  }

  // SD read operation completed (either successfully or after max retries)
  // Task now enters suspended state and waits to be resumed by touch interface
  for (;;)
  {
    // Task is suspended initially, will be resumed when selected via touch
    osThreadSuspend(osThreadGetId()); // Suspend self after completing SD operation

    // When resumed by touch interface, display the previously read content
    if (sd_read_completed && byte_read > 0)
    {
      sprintf(textMsg.text, "SD: %s", read_data);
    }
    else
    {
      sprintf(textMsg.text, "SD: Read failed");
    }

    // Send message to LCD
    queue_status = osMessageQueuePut(lcdTextQueue, &textMsg, 0, 1000);
    if (queue_status == osOK)
    {
      osSemaphoreRelease(lcdUpdateSemaphore);
    }

    // Small delay before suspending again
    osDelay(100);
  }
  /* USER CODE END StartSDCardTask */
}

void StartLedBlinkTask(void *argument)
{
  /* USER CODE BEGIN StartLedBlinkTask */
  /* Infinite loop */
  for (;;)
  {
    // Task is suspended initially, will be resumed when selected
    Task2_LedBlink(GPIOB, GPIO_PIN_1, BLINK_SPEED_1000_MS);
  }
  /* USER CODE END StartLedBlinkTask */
}

void StartLcdUpdateTextTask(void *argument)
{
  /* USER CODE BEGIN StartLcdUpdateTextTask */
  /* Infinite loop */
  LcdTextMessage_t textMsg;

  for (;;)
  {
    // Wait for signal to update text
    if (osSemaphoreAcquire(lcdUpdateSemaphore, osWaitForever) == osOK)
    {
      // Get message from queue
      if (osMessageQueueGet(lcdTextQueue, &textMsg, NULL, 100) == osOK)
      {
        // Acquire LCD mutex
        if (osMutexAcquire(lcdMutex, 1000) == osOK)
        {
          // Disable touch interrupt while updating LCD
          HAL_NVIC_DisableIRQ(EXTI4_IRQn);

          Manual_LCD_UpdateInfoText(textMsg.text);

          // Clear pending interrupt and re-enable
          __HAL_GPIO_EXTI_CLEAR_IT(TP_IRQ_Pin);
          HAL_NVIC_EnableIRQ(EXTI4_IRQn);

          osMutexRelease(lcdMutex);
        }
      }
    }
  }
  /* USER CODE END StartLcdUpdateTextTask */
}

void StartUIManagerTask(void *argument)
{
  /* USER CODE BEGIN StartUIManagerTask */
  UiTaskSwitchMessage_t taskSwitchMsg;

  for (;;)
  {
    // Wait for signal to update UI
    if (osSemaphoreAcquire(uiUpdateSemaphore, osWaitForever) == osOK)
    {
      // Get consolidated task switch message
      if (osMessageQueueGet(uiTaskSwitchQueue, &taskSwitchMsg, NULL, 100) == osOK)
      {
        // Acquire LCD mutex
        if (osMutexAcquire(lcdMutex, 1000) == osOK)
        {
          // Disable touch interrupt while updating UI
          HAL_NVIC_DisableIRQ(EXTI4_IRQn);

          // Perform both UI operations atomically
          if (taskSwitchMsg.hasOldTask)
          {
            // Reset old task color
            Manual_LCD_RefillTaskBox(taskSwitchMsg.oldTaskName, taskSwitchMsg.oldColor);
          }

          if (taskSwitchMsg.newTaskName[0] != '\0')
          {
            // Highlight new task color
            Manual_LCD_RefillTaskBox(taskSwitchMsg.newTaskName, taskSwitchMsg.newColor);
          }

          // Clear pending interrupt and re-enable
          __HAL_GPIO_EXTI_CLEAR_IT(TP_IRQ_Pin);
          HAL_NVIC_EnableIRQ(EXTI4_IRQn);

          osMutexRelease(lcdMutex);
        }
      }
    }
  }
  /* USER CODE END StartUIManagerTask */
}

void StartTaskSwitchHandler(void *argument)
{
  /* USER CODE BEGIN StartTaskSwitchHandler */
  TaskSwitchMessage_t switchMsg;

  for (;;)
  {
    // Wait for task switch request
    if (osMessageQueueGet(taskSwitchQueue, &switchMsg, NULL, osWaitForever) == osOK)
    {
      SwitchActiveTask(switchMsg.taskHandle, switchMsg.taskIndex);
    }
  }
  /* USER CODE END StartTaskSwitchHandler */
}

void Error_Handler(void)
{
  __disable_irq();
  while (1)
  {
  }
}
